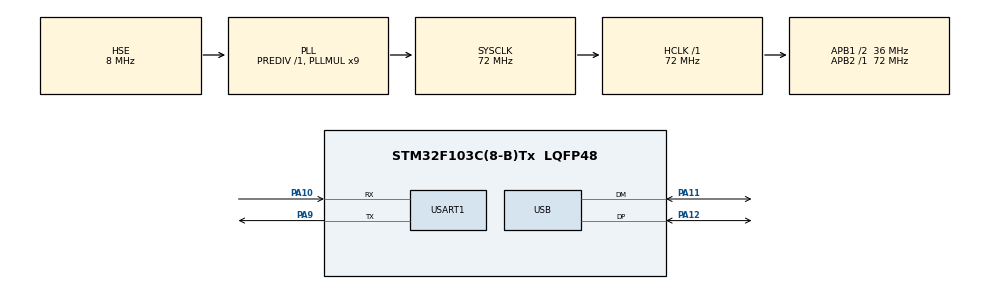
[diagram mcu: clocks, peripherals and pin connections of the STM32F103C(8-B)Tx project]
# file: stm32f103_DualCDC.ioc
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Mcu.Family=STM32F1
Mcu.Name=STM32F103C(8-B)Tx
Mcu.Package=LQFP48
NVIC.PriorityGroup=NVIC_PRIORITYGROUP_4
NVIC.USB_LP_CAN1_RX0_IRQn=true\:0\:0\:false\:false\:true\:false\:true
PA10.Mode=Asynchronous
PA10.Signal=USART1_RX
PA11.Mode=Device
PA11.Signal=USB_DM
PA12.Mode=Device
PA12.Signal=USB_DP
PA13.Mode=Serial_Wire
PA13.Signal=SYS_JTMS-SWDIO
PA14.Mode=Serial_Wire
PA14.Signal=SYS_JTCK-SWCLK
PA9.Mode=Asynchronous
PA9.Signal=USART1_TX
PD0-OSC_IN.Mode=HSE-External-Oscillator
PD0-OSC_IN.Signal=RCC_OSC_IN
PD1-OSC_OUT.Mode=HSE-External-Oscillator
PD1-OSC_OUT.Signal=RCC_OSC_OUT
ProjectManager.HeapSize=0x1000
ProjectManager.StackSize=0x800
ProjectManager.TargetToolchain=MDK-ARM V5
RCC.AHBFreq_Value=72000000
RCC.APB1CLKDivider=RCC_HCLK_DIV2
RCC.APB1Freq_Value=36000000
RCC.APB1TimFreq_Value=72000000
RCC.APB2Freq_Value=72000000
RCC.APB2TimFreq_Value=72000000
RCC.HCLKFreq_Value=72000000
RCC.PLLMUL=RCC_PLL_MUL9
RCC.SYSCLKFreq_VALUE=72000000
RCC.SYSCLKSource=RCC_SYSCLKSOURCE_PLLCLK
RCC.USBFreq_Value=48000000
RCC.USBPrescaler=RCC_USBCLKSOURCE_PLL_DIV1_5
USART1.VirtualMode=VM_ASYNC
USB_DEVICE.CLASS_NAME_FS=CDC
USB_DEVICE.VirtualMode=Cdc
USB_DEVICE.VirtualModeFS=Cdc_FS
VP_USB_DEVICE_VS_USB_DEVICE_CDC_FS.Mode=CDC_FS
board=custom

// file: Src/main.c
/* USER CODE BEGIN Header */
/**
  ******************************************************************************
  * @file           : main.c
  * @brief          : Main program body
  ******************************************************************************
  * @attention
  *
  * <h2><center>&copy; Copyright (c) 2020 STMicroelectronics.
  * All rights reserved.</center></h2>
  *
  * This software component is licensed by ST under Ultimate Liberty license
  * SLA0044, the "License"; You may not use this file except in compliance with
  * the License. You may obtain a copy of the License at:
  *                             www.st.com/SLA0044
  *
  ******************************************************************************
  */
/* USER CODE END Header */

#include "main.h"
#include "usb_device.h"
#include <stdarg.h>
#include <stdlib.h>

/* USER CODE BEGIN Includes */

#ifndef USB_FS_DUAL_COM
int UsbDevRecvAvailableDataLen(void);
int UsbDevRecvs(unsigned char *buf, unsigned short want_len);
int UsbDevSends(unsigned char *buf, int len);
#else
int UsbDevRecvAvailableDataLen(uint32_t idx);
int UsbDevRecvs(uint32_t idx, unsigned char *buf, unsigned short want_len);
int UsbDevSends(uint32_t idx, unsigned char *buf, int len);
#endif
/* USER CODE END Includes */

/* USER CODE BEGIN PTD */

#define UART_BUFF_LEN 10240
struct uart_fifo
{
  unsigned short fin,fout;
  unsigned char data[UART_BUFF_LEN];
};
struct uart_fifo uart0_fifo;

/* USER CODE END PTD */

UART_HandleTypeDef huart1;

void SystemClock_Config(void);
static void MX_GPIO_Init(void);
static void MX_USART1_UART_Init(void);

uint32_t len,tickstart;
int main(void)
{

  /* MCU Configuration--------------------------------------------------------*/

  /* Reset of all peripherals, Initializes the Flash interface and the Systick. */
  HAL_Init();

  /* Configure the system clock */
  SystemClock_Config();

  /* Initialize all configured peripherals */
  MX_GPIO_Init();
  MX_USART1_UART_Init();
  MX_USB_DEVICE_Init();
  /* USER CODE BEGIN 2 */

  uart0_fifo.fin = uart0_fifo.fout = 0;
  usb_printf("Hello Elmo[%s %s].\r\n", __DATE__, __TIME__);

  /* USER CODE END 2 */

  /* Infinite loop */
  /* USER CODE BEGIN WHILE */
  tickstart = HAL_GetTick();
  while (1)
  {
    /* USER CODE END WHILE */

    if(uart0_fifo.fin != uart0_fifo.fout){
      if(__HAL_UART_GET_FLAG(&huart1, UART_FLAG_TXE)){
        unsigned char ch = uart0_fifo.data[uart0_fifo.fout];
        huart1.Instance->DR = ch;
        if(++uart0_fifo.fout >= UART_BUFF_LEN){
          uart0_fifo.fout=0;
        }
      }
    }
#if 1
#ifndef USB_FS_DUAL_COM
    len = UsbDevRecvAvailableDataLen();
    if(len>16 || ((len>0) &&((HAL_GetTick() - tickstart)>10))){
      uint8_t buf[128];
      len = (len>128) ? 128 : len;
      UsbDevRecvs(buf,len);
      UsbDevSends(buf,len);
      tickstart = HAL_GetTick();
    }
#else
    len = UsbDevRecvAvailableDataLen(0);
    if(len>16 || ((len>0) &&((HAL_GetTick() - tickstart)>10))){
      uint8_t buf[128];
      len = (len>128) ? 128 : len;
      UsbDevRecvs(0,buf,len);
      UsbDevSends(0,buf,len);
      tickstart = HAL_GetTick();
    }

    len = UsbDevRecvAvailableDataLen(1);
    if(len>16 || ((len>0) &&((HAL_GetTick() - tickstart)>10))){
      uint8_t buf[128];
      len = (len>128) ? 128 : len;
      UsbDevRecvs(1,buf,len);
      UsbDevSends(1,buf,len);
      tickstart = HAL_GetTick();
    }

#endif
#endif
  }
}

void SystemClock_Config(void)
{
  RCC_OscInitTypeDef RCC_OscInitStruct = {0};
  RCC_ClkInitTypeDef RCC_ClkInitStruct = {0};
  RCC_PeriphCLKInitTypeDef PeriphClkInit = {0};

  /** Initializes the CPU, AHB and APB busses clocks
  */
  RCC_OscInitStruct.OscillatorType = RCC_OSCILLATORTYPE_HSE;
  RCC_OscInitStruct.HSEState = RCC_HSE_ON;
  RCC_OscInitStruct.HSEPredivValue = RCC_HSE_PREDIV_DIV1;
  RCC_OscInitStruct.HSIState = RCC_HSI_ON;
  RCC_OscInitStruct.PLL.PLLState = RCC_PLL_ON;
  RCC_OscInitStruct.PLL.PLLSource = RCC_PLLSOURCE_HSE;
  RCC_OscInitStruct.PLL.PLLMUL = RCC_PLL_MUL9;
  if (HAL_RCC_OscConfig(&RCC_OscInitStruct) != HAL_OK)
  {
    Error_Handler();
  }
  /** Initializes the CPU, AHB and APB busses clocks
  */
  RCC_ClkInitStruct.ClockType = RCC_CLOCKTYPE_HCLK|RCC_CLOCKTYPE_SYSCLK
                              |RCC_CLOCKTYPE_PCLK1|RCC_CLOCKTYPE_PCLK2;
  RCC_ClkInitStruct.SYSCLKSource = RCC_SYSCLKSOURCE_PLLCLK;
  RCC_ClkInitStruct.AHBCLKDivider = RCC_SYSCLK_DIV1;
  RCC_ClkInitStruct.APB1CLKDivider = RCC_HCLK_DIV2;
  RCC_ClkInitStruct.APB2CLKDivider = RCC_HCLK_DIV1;

  if (HAL_RCC_ClockConfig(&RCC_ClkInitStruct, FLASH_LATENCY_2) != HAL_OK)
  {
    Error_Handler();
  }
  PeriphClkInit.PeriphClockSelection = RCC_PERIPHCLK_USB;
  PeriphClkInit.UsbClockSelection = RCC_USBCLKSOURCE_PLL_DIV1_5;
  if (HAL_RCCEx_PeriphCLKConfig(&PeriphClkInit) != HAL_OK)
  {
    Error_Handler();
  }
}

static void MX_USART1_UART_Init(void)
{

  huart1.Instance = USART1;
  huart1.Init.BaudRate = 115200;
  huart1.Init.WordLength = UART_WORDLENGTH_8B;
  huart1.Init.StopBits = UART_STOPBITS_1;
  huart1.Init.Parity = UART_PARITY_NONE;
  huart1.Init.Mode = UART_MODE_TX_RX;
  huart1.Init.HwFlowCtl = UART_HWCONTROL_NONE;
  huart1.Init.OverSampling = UART_OVERSAMPLING_16;
  if (HAL_UART_Init(&huart1) != HAL_OK)
  {
    Error_Handler();
  }

}

static void MX_GPIO_Init(void)
{

  /* GPIO Ports Clock Enable */
  __HAL_RCC_GPIOD_CLK_ENABLE();
  __HAL_RCC_GPIOA_CLK_ENABLE();

}

/* USER CODE BEGIN 4 */

unsigned char *pbuf_start = &uart0_fifo.data[0];
unsigned char *pbuf_end = &uart0_fifo.data[UART_BUFF_LEN];
void usb_printf(const char *fmt, ...)
{
#if 1
  va_list list;
  unsigned char *pbuf;

  va_start(list, fmt);
  pbuf = &uart0_fifo.data[uart0_fifo.fin];

  while(*fmt){
    if('%' != *fmt){
      *pbuf++ = *fmt++;
      if(pbuf == pbuf_end) pbuf = pbuf_start;
      continue;
    }

    ++fmt;
    switch(*fmt){
      case 's':{
        const char *str = va_arg(list, const char *);
        for(; *str!='\0'; str++){
          *pbuf++ = *str;
          if(pbuf == pbuf_end) pbuf = pbuf_start;
        }
        ++fmt;
        break;
      }
      case 'd':{
        char zero = 0;
        unsigned int div=1000000000;
        unsigned int value = (unsigned int)va_arg(list, const int);
        while(div){
          unsigned int val = value / div;
          if(val != 0){
            zero = 1;
            value -= val * div;
            *pbuf++ = val + '0';
            if(pbuf == pbuf_end) pbuf = pbuf_start;
          } else if(zero==1){
            *pbuf++ = '0';
            if(pbuf == pbuf_end) pbuf = pbuf_start;
          }
          div /= 10;
        }
        if(zero==0){
          *pbuf++ = '0';
          if(pbuf == pbuf_end) pbuf = pbuf_start;
        }
        ++fmt;
        break;
      }
      case 'x':{
        char zero = 0;
        int ulValue = va_arg(list, const int);
        unsigned char val;

        *pbuf++ = '0';
        if(pbuf == pbuf_end) pbuf = pbuf_start;
        *pbuf++ = 'x';
        if(pbuf == pbuf_end) pbuf = pbuf_start;

        if(ulValue & 0xff000000){
          val = ((ulValue >> 28) & 0xf);
          val += (val>9) ? 'W' : '0';
          *pbuf++ = val;
          if(pbuf == pbuf_end) pbuf = pbuf_start;

          val = ((ulValue >> 24) & 0xf);
          val += (val>9) ? 'W' : '0';
          *pbuf++ = val;
          if(pbuf == pbuf_end) pbuf = pbuf_start;
          zero = 1;
        }
        if((ulValue & 0xff0000) || (zero==1)){
          val = ((ulValue >> 20) & 0xf);
          val += (val>9) ? 'W' : '0';
          *pbuf++ = val;
          if(pbuf == pbuf_end) pbuf = pbuf_start;

          val = ((ulValue >> 16) & 0xf);
          val += (val>9) ? 'W' : '0';
          *pbuf++ = val;
          if(pbuf == pbuf_end) pbuf = pbuf_start;
          zero = 1;
        }
        if((ulValue & 0xff00) || (zero==1)){
          val = ((ulValue >> 12) & 0xf);
          val += (val>9) ? 'W' : '0';
          *pbuf++ = val;
          if(pbuf == pbuf_end) pbuf = pbuf_start;

          val = ((ulValue >> 8) & 0xf);
          val += (val>9) ? 'W' : '0';
          *pbuf++ = val;
          if(pbuf == pbuf_end) pbuf = pbuf_start;
          zero = 1;
        }
        if((ulValue & 0xff) || (zero==1)){
          val = ((ulValue >> 4) & 0xf);
          val += (val>9) ? 'W' : '0';
          *pbuf++ = val;
          if(pbuf == pbuf_end) pbuf = pbuf_start;

          val = (ulValue & 0xf);
          val += (val>9) ? 'W' : '0';
          *pbuf++ = val;
          if(pbuf == pbuf_end) pbuf = pbuf_start;
          zero = 1;
        }

        if(zero==0){
          *pbuf++ = '0';
          if(pbuf == pbuf_end) pbuf = pbuf_start;
          *pbuf++ = '0';
          if(pbuf == pbuf_end) pbuf = pbuf_start;
        }
        ++fmt;
        break;
      }
      default :{
        break;
      }
    }  //end switch
  } //end while
  uart0_fifo.fin = pbuf - pbuf_start;
#endif
}

void usb_printk(char *fmt, int len)
{
  if(uart0_fifo.fin+len <= UART_BUFF_LEN){
    memcpy(&uart0_fifo.data[uart0_fifo.fin], fmt, len);
  } else{
    unsigned short l = UART_BUFF_LEN-uart0_fifo.fin;
    memcpy(&uart0_fifo.data[uart0_fifo.fin], fmt, l);
    memcpy(&uart0_fifo.data[0], &fmt[l], len-l);
  }
  uart0_fifo.fin = (uart0_fifo.fin+len) % UART_BUFF_LEN;
}
void usb_printk_data(char *buff, int len)
{
  int i;
  unsigned short fin = uart0_fifo.fin;

  for(i=0; i<len; i++){
    uart0_fifo.data[fin++] = (buff[i]>>8)+'0';
    if(fin>UART_BUFF_LEN) fin = 0;
    uart0_fifo.data[fin++] = (buff[i]&0x0f)+'0';
    if(fin>UART_BUFF_LEN) fin = 0;
    uart0_fifo.data[fin++] = 0x20;
    if(fin>UART_BUFF_LEN) fin = 0;
  }
  uart0_fifo.fin = fin;
}

/* USER CODE END 4 */

void Error_Handler(void)
{
}

/************************ (C) COPYRIGHT STMicroelectronics *****END OF FILE****/
